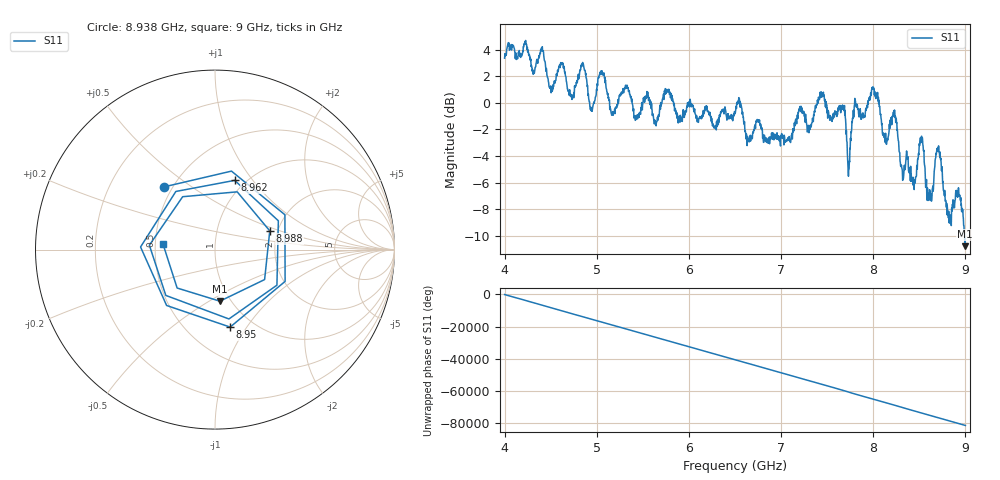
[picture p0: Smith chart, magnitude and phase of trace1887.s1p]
! Created with skrf 1.8.0 (http://scikit-rf.org).
# Hz S RI R 50.0
!freq ReS11 ImS11
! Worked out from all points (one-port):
!   1601 points, 4 GHz to 9 GHz, reference 50 ohm
!   lowest |S11| = -10.8 dB at 8.994 GHz (marker M1), VSWR 1.81, Z = 44.5 - j27.9 ohm
!   |S11| at or under -10 dB: 8.991562 GHz to end of sweep
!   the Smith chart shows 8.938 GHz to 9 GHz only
!   S11 on the Smith chart (normalised r, x): 8.938 GHz: 0.45, +0.40; 8.95 GHz: 0.79, -0.84; 8.962 GHz: 0.89, +0.82; 8.988 GHz: 1.81, +0.42; 9 GHz: 0.55, +0.04
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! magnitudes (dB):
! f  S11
! 4 GHz  3.4
! 4.506 GHz  0.8
! 4.625 GHz  3.0
! 4.725 GHz  0.4
! 4.853 GHz  2.9
! 4.941 GHz  -0.4
! 5.053 GHz  2.2
! 5.166 GHz  -0.9
! 5.25 GHz  0.5
! 5.875 GHz  -0.9
! 6.5 GHz  -0.8
! 7.125 GHz  -2.3
! 7.444 GHz  0.8
! 7.75 GHz  -3.5
! 7.803 GHz  -0.1
! 7.997 GHz  1.0
! 8.375 GHz  -4.2
! 8.444 GHz  -6.5
! 8.525 GHz  -2.5
! 8.616 GHz  -6.7
! 8.706 GHz  -3.7
! 8.822 GHz  -9.0
! 8.938 GHz  -6.9
! 8.95 GHz  -7.1
! 8.962 GHz  -7.9
! 8.988 GHz  -9.8
! 8.994 GHz  -10.8
! 9 GHz  -10.7
